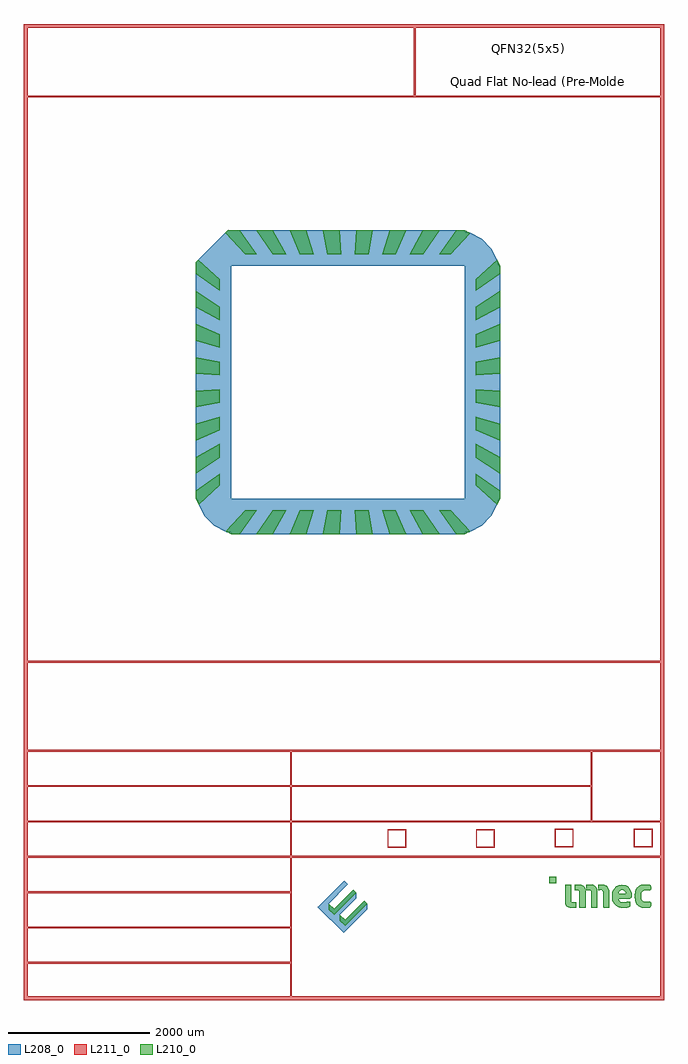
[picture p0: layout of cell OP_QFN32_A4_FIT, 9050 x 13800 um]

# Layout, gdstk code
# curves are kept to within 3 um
import gdstk
lib = gdstk.Library(unit=1e-6, precision=1e-09)
def P(c, l, *ps):  # polygons
    for p in ps: c.add(gdstk.Polygon(p, *l))
L208_0 = (208, 0)
L210_0 = (210, 0)
L211_0 = (211, 0)

new_imeclogo_mag5 = lib.new_cell('new_imecLogo_mag5')
P(new_imeclogo_mag5, L210_0, [(2610.17,0.04),(2610.17,3.28),(2585.455,3.28),(2585.455,7.54),(2576.14,7.54),(2576.14,15.04),(2565.17,15.04),(2565.17,22.54),(2557.67,22.54),(2557.67,30.04),(2542.67,30.04),(2542.67,37.54),(2527.67,37.54),(2527.67,45.04),(2520.17,45.04),(2520.17,52.54),(2505.17,52.54),(2505.17,60.04),(2497.67,60.04),(2497.67,67.54),(2490.17,67.54),(2490.17,75.04),(2482.67,75.04),(2482.67,82.54),(2475.17,82.54),(2475.17,97.54),(2467.67,97.54),(2467.67,105.04),(2460.17,105.04),(2460.17,120.04),(2452.67,120.04),(2452.67,127.54),(2445.17,127.54),(2445.17,138.4),(2437.67,138.4),(2437.67,172.54),(2430.17,172.54),(2430.17,209.675),(2422.67,209.675),(2422.67,262.54),(2415.17,262.54),(2415.17,390.04),(2422.67,390.04),(2422.67,452.91),(2430.17,452.91),(2430.17,472.54),(2437.67,472.54),(2437.67,499.24),(2445.17,499.24),(2445.17,517.54),(2452.67,517.54),(2452.67,525.04),(2460.17,525.04),(2460.17,532.54),(2467.67,532.54),(2467.67,547.54),(2475.17,547.54),(2475.17,555.04),(2482.67,555.04),(2482.67,562.54),(2490.17,562.54),(2490.17,570.04),(2497.67,570.04),(2497.67,577.54),(2504.01,577.54),(2504.01,592.54),(2520.17,592.54),(2520.17,600.04),(2535.17,600.04),(2535.17,607.54),(2542.67,607.54),(2542.67,615.04),(2562.48,615.04),(2562.48,630.4),(2590.835,630.4),(2590.835,637.54),(2640.17,637.54),(2640.17,645.04),(2782.67,645.04),(2782.67,637.54),(2830.38,637.54),(2830.38,630.04),(2850.17,630.04),(2850.17,622.54),(2857.67,622.54),(2857.67,607.54),(2865.17,607.54),(2865.17,592.54),(2872.67,592.54),(2872.67,510.04),(2865.17,510.04),(2865.17,495.305),(2848.555,495.305),(2848.555,487.54),(2662.67,487.54),(2662.67,480.04),(2640.17,480.04),(2640.17,472.54),(2632.67,472.54),(2632.67,465.04),(2625.17,465.04),(2625.17,457.54),(2617.67,457.54),(2617.67,450.04),(2610.17,450.04),(2610.17,427.54),(2602.67,427.54),(2602.67,412.54),(2595.17,412.54),(2595.17,225.04),(2602.67,225.04),(2602.67,217.54),(2609.485,217.54),(2609.485,200.97),(2617.62,200.97),(2617.62,189.98),(2623.475,189.98),(2623.475,182.09),(2629.65,182.09),(2629.65,174.885),(2635.48,174.885),(2635.48,170.765),(2645.43,170.765),(2645.43,166.99),(2653.325,166.99),(2653.325,165.04),(2662.67,165.04),(2662.67,162.555),(2831.765,162.555),(2831.765,157.54),(2850.17,157.54),(2850.17,150.04),(2857.67,150.04),(2857.67,142.54),(2865.17,142.54),(2865.17,127.54),(2872.67,127.54),(2872.67,45.04),(2865.17,45.04),(2865.17,27.5),(2857.925,27.5),(2857.925,15.04),(2844.12,15.04),(2844.12,7.54),(2831.725,7.54),(2831.725,0.04)],
  [(2009.955,0.04),(1965.955,7.005),(1887.67,46.895),(1826.35,108.215),(1780.835,197.545),(1777.67,217.54),(1777.67,427.54),(1780.485,445.33),(1826.35,535.34),(1887.67,596.66),(1964.94,636.03),(2050.59,649.595),(2136.24,636.03),(2160.17,623.835),(2160.17,440.2),(2152.67,440.2),(2152.67,450.71),(2145.17,450.71),(2145.17,465.04),(2130.17,465.04),(2130.17,480.04),(2115.17,480.04),(2115.17,487.54),(2088.19,487.54),(2088.19,495.04),(2071.68,495.04),(2071.68,502.54),(2033.29,502.54),(2033.29,495.04),(2012.63,495.04),(2012.63,487.59),(1995.01,487.59),(1995.01,479.91),(1981.78,479.91),(1981.78,465.275),(1965.78,465.275),(1965.78,450.645),(1962,450.645),(1962,438.025),(1957.67,438.025),(1957.67,382.54),(2160.17,382.54),(2160.17,623.835),(2213.51,596.66),(2274.83,535.34),(2319.655,447.365),(2325.17,412.54),(2325.17,296.915),(2317.39,296.915),(2317.39,286.53),(2307.35,286.53),(2307.35,276.755),(2297.63,276.755),(2297.63,269.375),(2291.355,269.375),(2291.355,256.01),(2283.16,256.01),(2283.16,247.54),(1957.67,247.54),(1957.67,209.835),(1962.72,209.835),(1966.805,188.64),(1971.62,188.64),(1971.62,182.665),(1976.915,182.665),(1976.915,176.38),(1982.03,176.38),(1982.03,170.325),(1993.005,165.795),(1997.4,157.54),(2014.165,153.955),(2014.165,150.04),(2182.67,150.04),(2182.67,164.97),(2272.67,165.04),(2272.67,156.405),(2280.17,156.405),(2280.17,142.54),(2287.67,142.54),(2287.67,52.54),(2278.895,52.54),(2278.895,30.21),(2265.34,30.21),(2265.34,14.57),(2247.32,14.57),(2247.32,6.12),(2210.76,6.12),(2210.76,0.205)],
  [(1530.17,0.04),(1515.18,0.215),(1515.17,465.04),(1507.67,465.04),(1507.67,472.54),(1500.17,472.54),(1500.17,480.04),(1492.67,480.04),(1492.67,487.54),(1380.17,487.535),(1380.17,644.93),(1554.2,643.61),(1613,613.65),(1654.355,572.295),(1683.22,515.65),(1687.67,487.54),(1687.67,0.04)],
  [(1192.67,0.04),(1177.67,0.06),(1177.67,472.54),(1170.17,472.54),(1170.17,480.04),(1162.67,480.04),(1162.67,487.54),(1042.735,487.61),(1042.735,645.005),(1215.17,645.04),(1231.91,640.38),(1284.305,613.685),(1325.66,572.33),(1352.625,519.42),(1357.67,487.54),(1357.67,0.06)],
  [(862.67,0.04),(847.74,0.06),(847.67,472.54),(840.17,472.54),(840.17,480.04),(825.17,480.04),(825.17,487.54),(712.665,487.645),(712.665,645.04),(870.61,645.04),(899.245,640.5),(951.64,613.805),(992.995,572.45),(1023.775,512.045),(1027.67,487.54),(1027.67,0.06)],
  [(574.395,0),(536.005,4.98),(501.37,19.425),(473.885,41.925),(456.235,70.275),(450.17,99.69),(450.185,645.04),(622.66,645.035),(622.7,150.065),(757.68,150.04),(757.67,0.04)],
  [(15.17,690.04),(15.17,690.125),(0,690.125),(0,705.04),(0.17,705.04),(0.17,855.04),(0.165,855.04),(0.165,870.045),(15.17,870.045),(15.17,870.04),(187.655,870.04),(187.655,855.04),(187.67,855.04),(187.67,690.04)])

ep_logo = lib.new_cell('EP_LOGO')
P(ep_logo, L208_0, [(24.3,0),(0,24.3),(24.9,49.2),(28.4,45.7),(10.4,27.7),(15.3,22.8),(33.3,40.8),(36.2,37.9),(36.2,32.7),(20.8,17.3),(25.7,12.4),(43.7,30.4),(46.6,27.5),(46.6,22.3)])
P(ep_logo, L210_0, [(15.3,17),(10.4,21.9),(10.4,27.7),(15.3,22.8)],
  [(25.7,6.6),(25.7,12.4),(43.7,30.4),(46.6,27.5)],
  [(25.7,6.6),(20.8,11.5),(20.8,17.3),(25.7,12.4)],
  [(15.3,17),(15.3,22.8),(33.3,40.8),(36.2,37.9)])

ep_text = lib.new_cell('EP_TEXT')
ep_text.add(gdstk.Label('www.europractice.imec.be', (3282.8,107.5), layer=211, texttype=0))
ep_text.add(gdstk.Label('Europractice', (3282.8,2445), layer=211, texttype=0))
ep_text.add(gdstk.Label('IC Service', (3285,1689.3), layer=211, texttype=0))
ep_text.add(gdstk.Label('Coordinated by IMEC', (3288.5,994.2), layer=211, texttype=0))

c_a4 = lib.new_cell('A4')
P(c_a4, L211_0, [(19200.2,5267.9),(19200.2,5792.9),(19700.2,5792.9),(19700.2,5767.9),(19225.2,5767.9),(19225.2,5292.9),(19700.2,5292.9),(19700.2,5792.9),(19725.2,5792.9),(19725.2,5267.9)],
  [(16962,5267.9),(16962,5792.9),(17462,5792.9),(17462,5767.9),(16987,5767.9),(16987,5292.9),(17462,5292.9),(17462,5792.9),(17487,5792.9),(17487,5267.9)],
  [(14735.3,5252.8),(14735.3,5777.8),(15235.3,5777.8),(15235.3,5752.8),(14760.3,5752.8),(14760.3,5277.8),(15235.3,5277.8),(15235.3,5777.8),(15260.3,5777.8),(15260.3,5252.8)],
  [(12231.6,5252.8),(12231.6,5777.8),(12731.6,5777.8),(12731.6,5752.8),(12256.6,5752.8),(12256.6,5277.8),(12731.6,5277.8),(12731.6,5777.8),(12756.6,5777.8),(12756.6,5252.8)],
  [(1950,949.9),(1950,28549.9),(19950,28549.9),(19950,28449.9),(2050,28449.9),(2050,1049.9),(19950,1049.9),(19950,28549.9),(20050,28549.9),(20050,949.9)])
c_a4.add(gdstk.FlexPath([(2000,1999.9),(9500,1999.9)], 50, ends="flush", simple_path=True, layer=211, datatype=0))  # L211_0
c_a4.add(gdstk.FlexPath([(9500,999.9),(9500,7999.9)], 50, ends="flush", simple_path=True, layer=211, datatype=0))  # L211_0
c_a4.add(gdstk.FlexPath([(2000,7999.9),(20000,7999.9)], 50, ends="flush", simple_path=True, layer=211, datatype=0))  # L211_0
c_a4.add(gdstk.FlexPath([(2000,2999.9),(9500,2999.9)], 50, ends="flush", simple_path=True, layer=211, datatype=0))  # L211_0
c_a4.add(gdstk.FlexPath([(2000,3999.9),(9500,3999.9)], 50, ends="flush", simple_path=True, layer=211, datatype=0))  # L211_0
c_a4.add(gdstk.FlexPath([(2000,4999.9),(9500,4999.9)], 50, ends="flush", simple_path=True, layer=211, datatype=0))  # L211_0
c_a4.add(gdstk.FlexPath([(2000,5999.9),(9500,5999.9)], 50, ends="flush", simple_path=True, layer=211, datatype=0))  # L211_0
c_a4.add(gdstk.FlexPath([(2000,6999.9),(9500,6999.9)], 50, ends="flush", simple_path=True, layer=211, datatype=0))  # L211_0
c_a4.add(gdstk.FlexPath([(2000,10513.45),(20000,10513.45)], 50, ends="flush", simple_path=True, layer=211, datatype=0))  # L211_0
c_a4.add(gdstk.FlexPath([(18000,5999.9),(20000,5999.9)], 50, ends="flush", simple_path=True, layer=211, datatype=0))  # L211_0
c_a4.add(gdstk.FlexPath([(18000,5999.9),(18000,7999.9)], 50, ends="flush", simple_path=True, layer=211, datatype=0))  # L211_0
c_a4.add(gdstk.FlexPath([(9500,6999.9),(18000,6999.9)], 50, ends="flush", simple_path=True, layer=211, datatype=0))  # L211_0
c_a4.add(gdstk.FlexPath([(9500,5999.9),(18000,5999.9)], 50, ends="flush", simple_path=True, layer=211, datatype=0))  # L211_0
c_a4.add(gdstk.FlexPath([(9500,4999.9),(20000,4999.9)], 50, ends="flush", simple_path=True, layer=211, datatype=0))  # L211_0
c_a4.add(gdstk.FlexPath([(2000,26499.9),(20000,26499.9)], 50, ends="flush", simple_path=True, layer=211, datatype=0))  # L211_0
c_a4.add(gdstk.FlexPath([(13000,28499.9),(13000,26499.9)], 50, ends="flush", simple_path=True, layer=211, datatype=0))  # L211_0
c_a4.add(gdstk.Reference(new_imeclogo_mag5, (16810.185,3565.565)))
c_a4.add(gdstk.Reference(ep_logo, (10258.4,2846.8), magnification=30))
c_a4.add(gdstk.Reference(ep_text, (11419.3,1585)))
c_a4.add(gdstk.Label('Extra Info:', (2858.66,8222.15), layer=211, texttype=0))
c_a4.add(gdstk.Label('Die-thickness:', (2858.7,8607.91), layer=211, texttype=0))
c_a4.add(gdstk.Label('Pad-opening:', (2858.7,8993.51), layer=211, texttype=0))
c_a4.add(gdstk.Label('Pad-pitch :', (2858.7,9379.59), layer=211, texttype=0))
c_a4.add(gdstk.Label('Qty naked:', (2329.4,4305.6), layer=211, texttype=0))
c_a4.add(gdstk.Label('Date:', (9749.6,7375.2), layer=211, texttype=0))
c_a4.add(gdstk.Label('Glass', (17896.6,5436.4), layer=211, texttype=0))
c_a4.add(gdstk.Label('Comment:', (2341.3,10170.31), layer=211, texttype=0))
c_a4.add(gdstk.Label('Request:', (2477.7,27250.2), layer=211, texttype=0))
c_a4.add(gdstk.Label('MPW:', (2293.6,7337.7), layer=211, texttype=0))
c_a4.add(gdstk.Label('Die:', (2282.9,6360.8), layer=211, texttype=0))
c_a4.add(gdstk.Label('Qty packaged:', (2330.3,5364), layer=211, texttype=0))
c_a4.add(gdstk.Label('Lid:', (9748.2,5336.2), layer=211, texttype=0))
c_a4.add(gdstk.Label('Size incl scribe:', (9764.3,6340.4), layer=211, texttype=0))
c_a4.add(gdstk.Label('Scale', (19000,7399.9), layer=211, texttype=0))
c_a4.add(gdstk.Label('10', (18950,6699.9), layer=211, texttype=0))
c_a4.add(gdstk.Label('Die Attach:', (2303.6,3315.4), layer=211, texttype=0))
c_a4.add(gdstk.Label('Wire:', (2372.2,2319), layer=211, texttype=0))
c_a4.add(gdstk.Label('Max. wire length :', (2858.74,9764.55), layer=211, texttype=0))
c_a4.add(gdstk.Label('Sealed', (13153.7,5398.2), layer=211, texttype=0))
c_a4.add(gdstk.Label('Taped', (10770.8,5383.6), layer=211, texttype=0))
c_a4.add(gdstk.Label('Glued', (15617,5421.9), layer=211, texttype=0))

op_qfn32 = lib.new_cell('OP_QFN32')
P(op_qfn32, L208_0, [(-1650,-2150),(-1650,-2128.589),(-1711.628,-2118.828),(-1888.648,-2028.632),(-2029.132,-1888.148),(-2119.328,-1711.128),(-2129.01,-1650),(-2150,-1650),(-2150,1699.25),(-1699.25,2150),(1650,2150),(1650,1650),(-1650,1650),(-1650,-1650),(1650,-1650),(1650,2128.626),(1711.228,2118.928),(1888.248,2028.732),(2028.732,1888.248),(2118.928,1711.228),(2128.626,1650),(2150,1650),(2150,-1650),(2128.61,-1650),(2118.928,-1711.128),(2028.732,-1888.148),(1888.248,-2028.632),(1711.228,-2118.828),(1650,-2128.526),(1650,-2150)])
P(op_qfn32, L210_0, [(1290.99,1810),(1532.11,2150),(1650.125,2150),(1730.269,2109.187),(1454.99,1810)],
  [(-1810,1291),(-2150,1532.12),(-2150,1699.95),(-2114.648,1735.303),(-1810,1455)],
  [(1810,1291),(1810,1455),(2109.19,1730.281),(2150,1650.143),(2150,1532.12)],
  [(872.99,1810),(1060.69,2150),(1296.4,2150),(1066.99,1810)],
  [(484.99,1810),(589.27,2150),(824.98,2150),(678.99,1810)],
  [(96.99,1810),(117.85,2150),(353.56,2150),(290.99,1810)],
  [(-291,1810),(-353.57,2150),(-117.86,2150),(-97,1810)],
  [(-679,1810),(-824.99,2150),(-589.28,2150),(-485,1810)],
  [(-1067,1810),(-1296.41,2150),(-1060.7,2150),(-873,1810)],
  [(2109.145,-1730.229),(1810,-1454.99),(1810,-1290.99),(2150,-1532.11),(2150,-1650.003)],
  [(1060.69,-2150),(872.99,-1810),(1066.99,-1810),(1296.4,-2150)],
  [(589.27,-2150),(484.99,-1810),(678.99,-1810),(824.98,-2150)],
  [(117.85,-2150),(96.99,-1810),(290.99,-1810),(353.56,-2150)],
  [(-353.57,-2150),(-291,-1810),(-97,-1810),(-117.86,-2150)],
  [(-824.99,-2150),(-679,-1810),(-485,-1810),(-589.28,-2150)],
  [(-1296.41,-2150),(-1067,-1810),(-873,-1810),(-1060.7,-2150)],
  [(1532.11,-2150),(1290.99,-1810),(1454.99,-1810),(1730.207,-2109.12),(1649.932,-2150)],
  [(2150,-1296.4),(1810,-1066.99),(1810,-872.99),(2150,-1060.69)],
  [(2150,-824.98),(1810,-678.99),(1810,-484.99),(2150,-589.27)],
  [(2150,-353.56),(1810,-290.99),(1810,-96.99),(2150,-117.85)],
  [(1810,97),(1810,291),(2150,353.57),(2150,117.86)],
  [(1810,485),(1810,679),(2150,824.99),(2150,589.28)],
  [(1810,873),(1810,1067),(2150,1296.41),(2150,1060.7)],
  [(-2109.31,-1730.381),(-2150,-1650.478),(-2150,-1532.11),(-1810,-1290.99),(-1810,-1454.99)],
  [(-2150,-353.56),(-2150,-117.85),(-1810,-96.99),(-1810,-290.99)],
  [(-2150,-824.98),(-2150,-589.27),(-1810,-484.99),(-1810,-678.99)],
  [(-2150,-1296.4),(-2150,-1060.69),(-1810,-872.99),(-1810,-1066.99)],
  [(-1650.332,-2150),(-1730.342,-2109.256),(-1455,-1810),(-1291,-1810),(-1532.12,-2150)],
  [(-1455,1810),(-1735.303,2114.648),(-1699.95,2150),(-1532.12,2150),(-1291,1810)],
  [(-1810,873),(-2150,1060.7),(-2150,1296.41),(-1810,1067)],
  [(-1810,485),(-2150,589.28),(-2150,824.99),(-1810,679)],
  [(-1810,97),(-2150,117.86),(-2150,353.57),(-1810,291)])
op_qfn32.add(gdstk.Label('22', (2404.2,725.85), layer=211, texttype=0))
op_qfn32.add(gdstk.Label('32', (-1664.45,2373.1), layer=211, texttype=0))
op_qfn32.add(gdstk.Label('31', (-1221.75,2373.05), layer=211, texttype=0))
op_qfn32.add(gdstk.Label('30', (-727.3,2373.1), layer=211, texttype=0))
op_qfn32.add(gdstk.Label('29', (-238.6,2372.85), layer=211, texttype=0))
op_qfn32.add(gdstk.Label('28', (250.1,2373.05), layer=211, texttype=0))
op_qfn32.add(gdstk.Label('27', (704.3,2373.1), layer=211, texttype=0))
op_qfn32.add(gdstk.Label('26', (1181.5,2373.05), layer=211, texttype=0))
op_qfn32.add(gdstk.Label('25', (1651.5,2373), layer=211, texttype=0))
op_qfn32.add(gdstk.Label('24', (2403.95,1681.7), layer=211, texttype=0))
op_qfn32.add(gdstk.Label('23', (2404.4,1204.5), layer=211, texttype=0))
op_qfn32.add(gdstk.Label('21', (2393.5,227.1), layer=211, texttype=0))
op_qfn32.add(gdstk.Label('20', (2404.2,-244.35), layer=211, texttype=0))
op_qfn32.add(gdstk.Label('19', (2372.55,-704.3), layer=211, texttype=0))
op_qfn32.add(gdstk.Label('18', (2372.3,-1187.25), layer=211, texttype=0))
op_qfn32.add(gdstk.Label('17', (2372.25,-1664.45), layer=211, texttype=0))
op_qfn32.add(gdstk.Label('16', (1681.7,-2346.7), layer=211, texttype=0))
op_qfn32.add(gdstk.Label('15', (1181.5,-2346.75), layer=211, texttype=0))
op_qfn32.add(gdstk.Label('14', (710.05,-2346.75), layer=211, texttype=0))
op_qfn32.add(gdstk.Label('13', (221.35,-2346.75), layer=211, texttype=0))
op_qfn32.add(gdstk.Label('12', (-238.6,-2346.65), layer=211, texttype=0))
op_qfn32.add(gdstk.Label('11', (-738.8,-2346.75), layer=211, texttype=0))
op_qfn32.add(gdstk.Label('10', (-1181.5,-2346.7), layer=211, texttype=0))
op_qfn32.add(gdstk.Label('9', (-1658.7,-2346.7), layer=211, texttype=0))
op_qfn32.add(gdstk.Label('8', (-2351,-1675.95), layer=211, texttype=0))
op_qfn32.add(gdstk.Label('7', (-2351,-1204.5), layer=211, texttype=0))
op_qfn32.add(gdstk.Label('6', (-2350.3,-698.55), layer=211, texttype=0))
op_qfn32.add(gdstk.Label('5', (-2350.3,-227.1), layer=211, texttype=0))
op_qfn32.add(gdstk.Label('4', (-2357.4,267.35), layer=211, texttype=0))
op_qfn32.add(gdstk.Label('3', (-2350.1,721.55), layer=211, texttype=0))
op_qfn32.add(gdstk.Label('1', (-2355.25,1601.2), layer=211, texttype=0))
op_qfn32.add(gdstk.Label('2', (-2350.1,1193), layer=211, texttype=0))

op_qfn32_a4_fit = lib.new_cell('OP_QFN32_A4_FIT')
op_qfn32_a4_fit.add(gdstk.Reference(c_a4, (0,0.1), magnification=0.5))
op_qfn32_a4_fit.add(gdstk.Reference(op_qfn32, (5556.25,9209.75)))
op_qfn32_a4_fit.add(gdstk.Label('Quad Flat No-lead (Pre-Molded Open-Pak)', (8241,13464.2), layer=211, texttype=0))
op_qfn32_a4_fit.add(gdstk.Label('QFN32(5x5)', (8113.2,13931.8), layer=211, texttype=0))

lib.write_gds('OP_QFN32_A4_FIT.gds')
